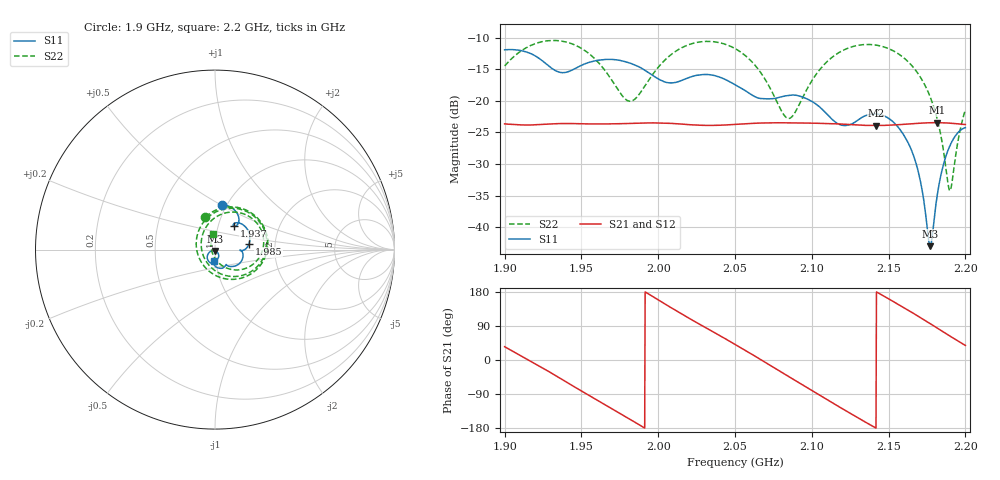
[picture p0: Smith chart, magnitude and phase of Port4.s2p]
# Hz S RI R 50
! CMT, CMT808U, 21440046, 21.4.3/4
! Date: 3/28/2026 4:57:45 PM
! Data: Format (Calibration Info)
! Freq	S11:Re/Im(F2)	S41:Re/Im(F2)	S14:Re/Im(F2)	S44:Re/Im(F2)
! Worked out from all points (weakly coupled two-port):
!   1001 points, 1.9 GHz to 2.2 GHz, reference 50 ohm
!   highest |S21| = -23.45 dB at 2.182 GHz (marker M1); lowest = -23.9 dB at 2.142 GHz (marker M2)
!   lowest |S11| = -43.0 dB at 2.177 GHz (marker M3), VSWR 1.01, Z = 49.9 - j0.693 ohm
!   |S11| at or under -10 dB: start of sweep to end of sweep
!   |S22| runs from -34.2 to -10.4 dB; largest |S21 - S12| = 0.00053
!   S11 on the Smith chart (normalised r, x): 1.9 GHz: 0.95, +0.51; 1.937 GHz: 1.19, +0.32; 1.985 GHz: 1.46, +0.10; 2.2 GHz: 0.98, -0.12
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1.9e9  0.0384 0.2505  0.0538 0.0378  0.0534 0.038  -0.0531 0.1811
1.9168e9  0.1228 0.2029  0.0643 -0.00328  0.0641 -0.00292  0.1489 0.2294
1.9366e9  0.1057 0.1299  0.043 -0.0501  0.0432 -0.0498  0.2938 0.0474
1.9501e9  0.1191 0.1497  0.00918 -0.0652  0.00947 -0.065  0.2371 -0.1057
1.9666e9  0.1779 0.1169  -0.0337 -0.0563  -0.0334 -0.0564  0.0444 -0.1598
1.9846e9  0.19 0.0328  -0.0637 -0.0187  -0.0636 -0.019  -0.1026 0.00342
2.0002e9  0.1486 -0.00623  -0.0621 0.0248  -0.0621 0.0244  -0.0371 0.1817
2.0143e9  0.1434 -0.00324  -0.0364 0.0546  -0.0366 0.0542  0.1225 0.2284
2.0296e9  0.1545 -0.0468  0.00196 0.064  0.00163 0.0639  0.2639 0.1311
2.05e9  0.0955 -0.0942  0.0488 0.043  0.0485 0.0432  0.2455 -0.0836
2.0668e9  0.0633 -0.0829  0.0667 0.00098  0.0666 0.00133  0.0769 -0.148
2.0842e9  0.0518 -0.0971  0.0499 -0.0446  0.05 -0.0444  -0.067 -0.0285
2.1001e9  0.00871 -0.0985  0.0109 -0.0657  0.0113 -0.0655  -0.0408 0.1387
2.1196e9  -0.00149 -0.0641  -0.0402 -0.0517  -0.0399 -0.0518  0.1406 0.2048
2.1418e9  -0.0203 -0.0761  -0.0637 -0.000337  -0.0637 -0.00065  0.2711 0.0521
2.1502e9  -0.0383 -0.0615  -0.0607 0.0208  -0.0607 0.0205  0.2571 -0.0242
2.1664e9  -0.0326 -0.0161  -0.0355 0.0557  -0.0358 0.0554  0.1439 -0.1118
2.1709e9  -0.0209 -0.00833  -0.0243 0.062  -0.0246 0.0618  0.1028 -0.1127
2.1772e9  -0.00133 -0.00695  -0.00658 0.0667  -0.0069 0.0667  0.0485 -0.0947
2.1817e9  0.0116 -0.0138  0.00683 0.0669  0.00649 0.0668  0.0163 -0.0695
2.1901e9  0.0203 -0.0397  0.0305 0.0592  0.0301 0.0593  -0.0193 -0.00282
2.2e9  -0.00421 -0.0612  0.0509 0.0403  0.0506 0.0406  -0.0107 0.0845
